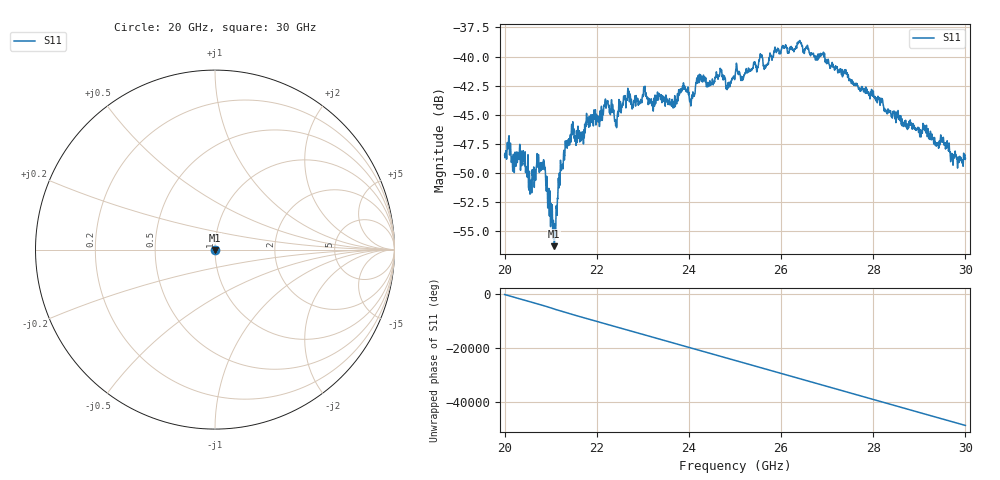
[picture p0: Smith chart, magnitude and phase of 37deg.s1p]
#  HZ  S  RI  R  50.00
! Rohde & Schwarz ZVA40 4Ports - Version 3.90 - 1145.1110k42 SN: 100403
! Date: 2023-10-03 11:51:41
! Measurement: S12
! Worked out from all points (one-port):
!   5001 points, 20 GHz to 30 GHz, reference 50 ohm
!   lowest |S11| = -56.3 dB at 21.08 GHz (marker M1), VSWR 1.00, Z = 50 - j0.152 ohm
!   |S11| at or under -10 dB: start of sweep to end of sweep
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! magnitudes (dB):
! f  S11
! 20 GHz  -48.5
! 20.09 GHz  -47.1
! 20.19 GHz  -48.7
! 20.37 GHz  -48.7
! 20.56 GHz  -51.1
! 20.84 GHz  -49.5
! 21.04 GHz  -54.9
! 21.08 GHz  -56.3
! 21.25 GHz  -49.4
! 21.47 GHz  -46.7
! 21.68 GHz  -46.5
! 22.2 GHz  -44.5
! 22.42 GHz  -45.5
! 22.5 GHz  -43.9
! 23.03 GHz  -43.0
! 23.18 GHz  -43.7
! 23.75 GHz  -43.3
! 23.88 GHz  -42.4
! 24.06 GHz  -43.4
! 24.22 GHz  -42.3
! 24.69 GHz  -41.1
! 24.85 GHz  -42.3
! 25 GHz  -41.7
! 26.25 GHz  -39.5
! 26.9 GHz  -39.8
! 27.5 GHz  -42.0
! 28.75 GHz  -45.9
! 30 GHz  -48.8
